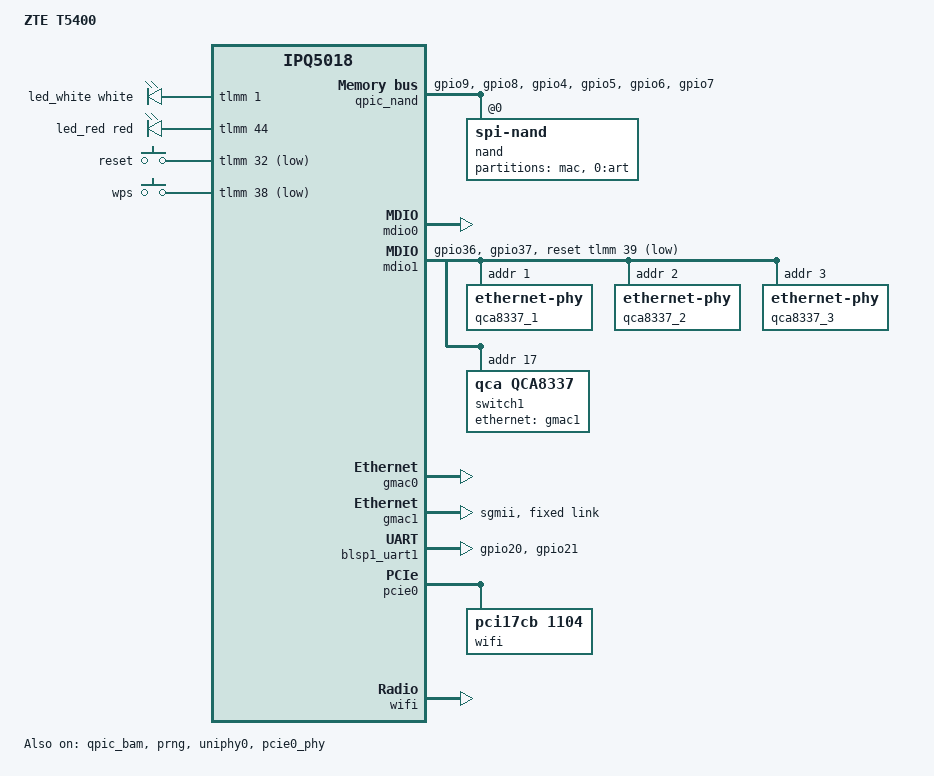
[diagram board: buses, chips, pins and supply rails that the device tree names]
// SPDX-License-Identifier: GPL-2.0-or-later OR MIT
/*
 * Copyright (c) 2026 Wojciech Zwolinski <wojciech.zwolinski0@gmail.com>
 */

/dts-v1/;

#include "ipq5018.dtsi"
#include "ipq5018-ess.dtsi"

#include <dt-bindings/gpio/gpio.h>
#include <dt-bindings/input/input.h>
#include <dt-bindings/leds/common.h>

/ {
	model = "ZTE T5400";
	compatible = "zte,t5400", "qcom,ipq5018";

	aliases {
		label-mac-device = &swport2;
		serial0 = &blsp1_uart1;
		led-boot = &led_red;
		led-failsafe = &led_red;
		led-running = &led_white;
		led-upgrade = &led_red;
	};

	chosen {
		bootargs-append = " root=/dev/ubiblock0_1 swiotlb=1 coherent_pool=2M";
		stdout-path = "serial0:115200n8";
	};

	leds {
		compatible = "gpio-leds";
		pinctrl-0 = <&leds_pins>;
		pinctrl-names = "default";

		led_white: led-0 {
			color = <LED_COLOR_ID_WHITE>;
			function = LED_FUNCTION_STATUS;
			gpios = <&tlmm 1 GPIO_ACTIVE_HIGH>;
		};

		led_red: led-1 {
			color = <LED_COLOR_ID_RED>;
			function = LED_FUNCTION_STATUS;
			gpios = <&tlmm 44 GPIO_ACTIVE_HIGH>;
			default-state = "on";
		};
	};

	keys {
		compatible = "gpio-keys";
		pinctrl-0 = <&keys_pins>;
		pinctrl-names = "default";

		button-reset {
			label = "reset";
			linux,code = <KEY_RESTART>;
			gpios = <&tlmm 32 GPIO_ACTIVE_LOW>;
		};

		button-wps {
			label = "wps";
			linux,code = <KEY_WPS_BUTTON>;
			gpios = <&tlmm 38 GPIO_ACTIVE_LOW>;
		};
	};
};

&qpic_bam {
	status = "okay";
};

&qpic_nand {
	status = "okay";

	pinctrl-0 = <&qpic_pins>;
	pinctrl-names = "default";

	nand@0 {
		compatible = "spi-nand";
		reg = <0>;

		nand-ecc-engine = <&qpic_nand>;
		nand-ecc-strength = <4>;
		nand-ecc-step-size = <512>;
		nand-bus-width = <8>;

		partitions {
			compatible = "qcom,smem-part";

			partition-mac {
				label = "mac";
				read-only;

				nvmem-layout {
					compatible = "fixed-layout";
					#address-cells = <1>;
					#size-cells = <1>;

					macaddr_mac_0: mac-address@0 {
						compatible = "mac-base";
						reg = <0x0 0x6>;
						#nvmem-cell-cells = <1>;
					};
				};
			};

			partition-0-art {
				label = "0:art";
				read-only;

				nvmem-layout {
					compatible = "fixed-layout";
					#address-cells = <1>;
					#size-cells = <1>;

					caldata_art_1000: calibration@1000 {
						reg = <0x1000 0x20000>;
					};

					caldata_art_26800: calibration@26800 {
						reg = <0x26800 0x20000>;
					};
				};
			};
		};
	};
};

&sleep_clk {
	clock-frequency = <32000>;
};

&xo_board_clk {
	clock-div = <4>;
	clock-mult = <1>;
};

&prng {
	status = "okay";
};

&mdio0 {
	status = "okay";
};

/*
 * External QCA8337 switch:
 * MDIO1 manages the switch and its internal PHYs.
 *
 * MDIO1 PHY1 -> physical RJ45 port 1
 * MDIO1 PHY2 -> physical RJ45 port 2
 * MDIO1 PHY3 -> physical RJ45 port 3
 *
 * LAN data path:
 * GMAC1 -> UNIPHY0 -> SGMII -> QCA8337 CPU port 6
 *
 * Physical RJ45 port 4 uses a separate path:
 * GMAC0 -> internal GEPHY (MDIO0 PHY7)
 */
&mdio1 {
	status = "okay";

	pinctrl-0 = <&mdio1_pins>;
	pinctrl-names = "default";

	reset-gpios = <&tlmm 39 GPIO_ACTIVE_LOW>;

	qca8337_1: ethernet-phy@1 {
		reg = <1>;
	};

	qca8337_2: ethernet-phy@2 {
		reg = <2>;
	};

	qca8337_3: ethernet-phy@3 {
		reg = <3>;
	};

	switch1: ethernet-switch@11 {
		compatible = "qca,qca8337";
		reg = <0x11>;

		ethernet-ports {
			#address-cells = <1>;
			#size-cells = <0>;

			swport2: ethernet-port@2 {
				reg = <2>;
				label = "lan1";
				phy-handle = <&qca8337_1>;

				nvmem-cells = <&macaddr_mac_0 0>;
				nvmem-cell-names = "mac-address";
			};

			swport3: ethernet-port@3 {
				reg = <3>;
				label = "lan2";
				phy-handle = <&qca8337_2>;

				nvmem-cells = <&macaddr_mac_0 0>;
				nvmem-cell-names = "mac-address";
			};

			swport4: ethernet-port@4 {
				reg = <4>;
				label = "lan3";
				phy-handle = <&qca8337_3>;

				nvmem-cells = <&macaddr_mac_0 0>;
				nvmem-cell-names = "mac-address";
			};

			ethernet-port@6 {
				reg = <6>;
				label = "cpu";
				phy-mode = "sgmii";
				ethernet = <&gmac1>;
				qca,sgmii-enable-pll;

				fixed-link {
					speed = <1000>;
					full-duplex;
				};
			};
		};
	};
};

/*
 * GMAC0 -> internal GEPHY (MDIO0 PHY7) -> RJ45 port 4.
 * Stock derives eth0 by decrementing factory MAC byte 3 by 2 modulo 256.
 */
&gmac0 {
	status = "okay";

	nvmem-cells = <&macaddr_mac_0 (-0x20000)>;
	nvmem-cell-names = "mac-address";
};

/*
 * GMAC1 -> UNIPHY0 -> SGMII -> QCA8337 CPU port 6 -> LAN1/LAN2/LAN3.
 * Stock derives eth1 by decrementing factory MAC byte 3 by 1 modulo 256.
 */
&gmac1 {
	status = "okay";

	phy-mode = "sgmii";

	nvmem-cells = <&macaddr_mac_0 (-0x10000)>;
	nvmem-cell-names = "mac-address";

	fixed-link {
		speed = <1000>;
		full-duplex;
	};
};

&uniphy0 {
	status = "okay";

	assigned-clocks = <&uniphy0 UNIPHY_CLK_REF>;
	assigned-clock-rates = <UNIPHY_REFCLK_25MHZ>;
};

&blsp1_uart1 {
	status = "okay";

	pinctrl-0 = <&serial_0_pins>;
	pinctrl-names = "default";
};

&tlmm {
	qpic_pins: qpic-state {
		clock-pins {
			pins = "gpio9";
			function = "qspi_clk";
			drive-strength = <8>;
			bias-disable;
		};

		cs-pins {
			pins = "gpio8";
			function = "qspi_cs";
			drive-strength = <8>;
			bias-disable;
		};

		data-pins {
			pins = "gpio4", "gpio5", "gpio6", "gpio7";
			function = "qspi_data";
			drive-strength = <8>;
			bias-disable;
		};
	};

	mdio1_pins: mdio1-state {
		mdc-pins {
			pins = "gpio36";
			function = "mdc";
			drive-strength = <8>;
			bias-pull-up;
		};

		mdio-pins {
			pins = "gpio37";
			function = "mdio";
			drive-strength = <8>;
			bias-pull-up;
		};
	};

	keys_pins: keys-state {
		pins = "gpio32", "gpio38";
		function = "gpio";
		drive-strength = <8>;
		bias-pull-up;
	};

	leds_pins: leds-state {
		pins = "gpio1", "gpio44";
		function = "gpio";
		drive-strength = <8>;
		bias-pull-down;
	};

	serial_0_pins: uart0-state {
		rx-pins {
			pins = "gpio20";
			function = "blsp0_uart0";
			bias-pull-up;
		};

		tx-pins {
			pins = "gpio21";
			function = "blsp0_uart0";
			bias-disable;
		};
	};
};

&pcie0_phy {
	status = "okay";
};

&pcie0 {
	status = "okay";

	perst-gpios = <&tlmm 15 GPIO_ACTIVE_LOW>;

	pcie@0 {
		wifi@0,0 {
			status = "okay";

			/* QCN9024, exposed to ath11k as PCI device 17cb:1104. */
			compatible = "pci17cb,1104";
			reg = <0x00010000 0 0 0 0>;

			qcom,calibration-variant = "ZTE-T5400";

			/*
			 * Stock derives the primary chip2 WLAN MAC by
			 * incrementing factory MAC byte 3 by 10 modulo 256.
			 */
			nvmem-cells = <&macaddr_mac_0 0x0a0000>, <&caldata_art_26800>;
			nvmem-cell-names = "mac-address", "calibration";
		};
	};
};

&q6v5_wcss {
	firmware-name = "ath11k/IPQ5018/hw1.0/q6_fw.mdt",
			"ath11k/IPQ5018/hw1.0/m3_fw.mdt";
};

&wifi {
	status = "okay";

	qcom,rproc = <&q6v5_wcss>;
	qcom,calibration-variant = "ZTE-T5400";
	qcom,ath11k-fw-memory-mode = <1>;

	/* Stock uses the factory MAC for the primary chip1 WLAN address. */
	nvmem-cells = <&macaddr_mac_0 0>, <&caldata_art_1000>;
	nvmem-cell-names = "mac-address", "calibration";
};
